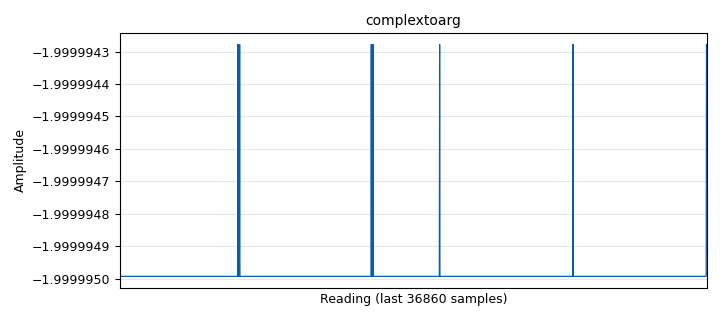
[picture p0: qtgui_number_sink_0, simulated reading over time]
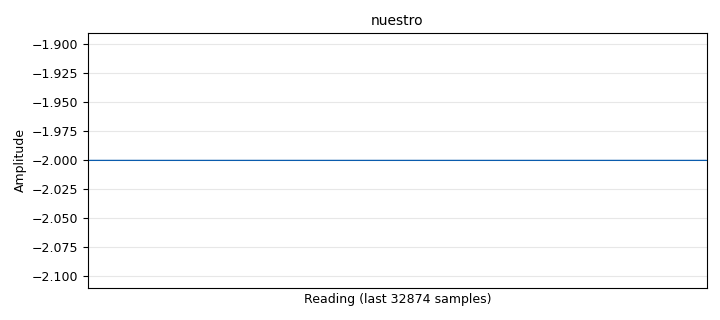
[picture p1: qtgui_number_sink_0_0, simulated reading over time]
options:
  parameters:
    generate_options: qt_gui
    id: igualarpotencias
    output_language: python
    title: eso
  states: {}

blocks:
- name: amplitud
  id: variable_qtgui_range
  parameters:
    orient: Qt.Horizontal
    start: '0'
    step: '0.05'
    stop: '1'
    value: '0.1'
  states: {}
- name: samp_rate
  id: variable
  parameters:
    value: '32000'
  states: {}
- name: analog_sig_source_x_0
  id: analog_sig_source_x
  parameters:
    amp: amplitud
    freq: '1000'
    offset: '0'
    phase: '0'
    samp_rate: samp_rate
    type: complex
    waveform: analog.GR_COS_WAVE
  states: {}
- name: blocks_complex_to_float_0
  id: blocks_complex_to_float
  parameters: {}
  states: {}
- name: blocks_complex_to_mag_squared_0
  id: blocks_complex_to_mag_squared
  parameters: {}
  states: {}
- name: blocks_moving_average_xx_0
  id: blocks_moving_average_xx
  parameters:
    length: '1000'
    max_iter: '4000'
    scale: '0.001'
    type: float
  states: {}
- name: blocks_moving_average_xx_0_0
  id: blocks_moving_average_xx
  parameters:
    length: '1000'
    max_iter: '4000'
    scale: '0.001'
    type: float
  states: {}
- name: blocks_nlog10_ff_0
  id: blocks_nlog10_ff
  parameters:
    k: '0'
  states: {}
- name: blocks_nlog10_ff_0_0
  id: blocks_nlog10_ff
  parameters:
    k: '0'
  states: {}
- name: epy_block_0
  id: epy_block
  parameters:
    _source_code: |
      """
      Embedded Python Blocks:

      Each time this file is saved, GRC will instantiate the first class it finds
      to get ports and parameters of your block. The arguments to __init__  will
      be the parameters. All of them are required to have default values!
      """

      import numpy as np
      from gnuradio import gr


      class blk(gr.sync_block):  # other base classes are basic_block, decim_block, interp_block
          """Embedded Python Block example - a simple multiply const"""

          def __init__(self, example_param=1.0):  # only default arguments here
              """arguments to this function show up as parameters in GRC"""
              gr.sync_block.__init__(
                  self,
                  name='Embedded Python Block',   # will show up in GRC
                  in_sig=[np.complex64],
                  out_sig=[np.complex64]
              )
              # if an attribute with the same name as a parameter is found,
              # a callback is registered (properties work, too).
              self.example_param = example_param
              self.arr_pow_actual = np.full(50, 2e-14)
              self.power = 2e-7
              self.prommovil = 0

          def work(self, input_items, output_items):
              """example: multiply with constant"""
              
              for i in range(0, len(input_items[0])):
              	muestra_actual = input_items[0][i]
              	self.power = np.abs(muestra_actual)**2 
              	self.prommovil = self.prommovil*1000/1001+(1/1001)*self.power
              	#if i % 1000 == 0:
              	#	print(self.prommovil)
              	for i in range(len(self.arr_pow_actual) - 1, 0, -1): 
              		self.arr_pow_actual[i] = self.arr_pow_actual[i - 1]	
              		self.arr_pow_actual[0] = self.power
              		self.pow_actual = np.mean(self.arr_pow_actual)
              		
              output_items[0][:]= self.pow_actual
              return len(output_items[0])
    example_param: '1.0'
  states: {}
- name: qtgui_number_sink_0
  id: qtgui_number_sink
  parameters:
    graph_type: qtgui.NUM_GRAPH_HORIZ
    name: '"complextoarg"'
    type: float
  states: {}
- name: qtgui_number_sink_0_0
  id: qtgui_number_sink
  parameters:
    graph_type: qtgui.NUM_GRAPH_HORIZ
    name: '"nuestro"'
    type: float
  states: {}

connections:
- [analog_sig_source_x_0, '0', blocks_complex_to_mag_squared_0, '0']
- [analog_sig_source_x_0, '0', epy_block_0, '0']
- [blocks_complex_to_float_0, '0', blocks_moving_average_xx_0_0, '0']
- [blocks_complex_to_mag_squared_0, '0', blocks_moving_average_xx_0, '0']
- [blocks_moving_average_xx_0, '0', blocks_nlog10_ff_0, '0']
- [blocks_moving_average_xx_0_0, '0', blocks_nlog10_ff_0_0, '0']
- [blocks_nlog10_ff_0, '0', qtgui_number_sink_0, '0']
- [blocks_nlog10_ff_0_0, '0', qtgui_number_sink_0_0, '0']
- [epy_block_0, '0', blocks_complex_to_float_0, '0']

metadata:
  file_format: 1
